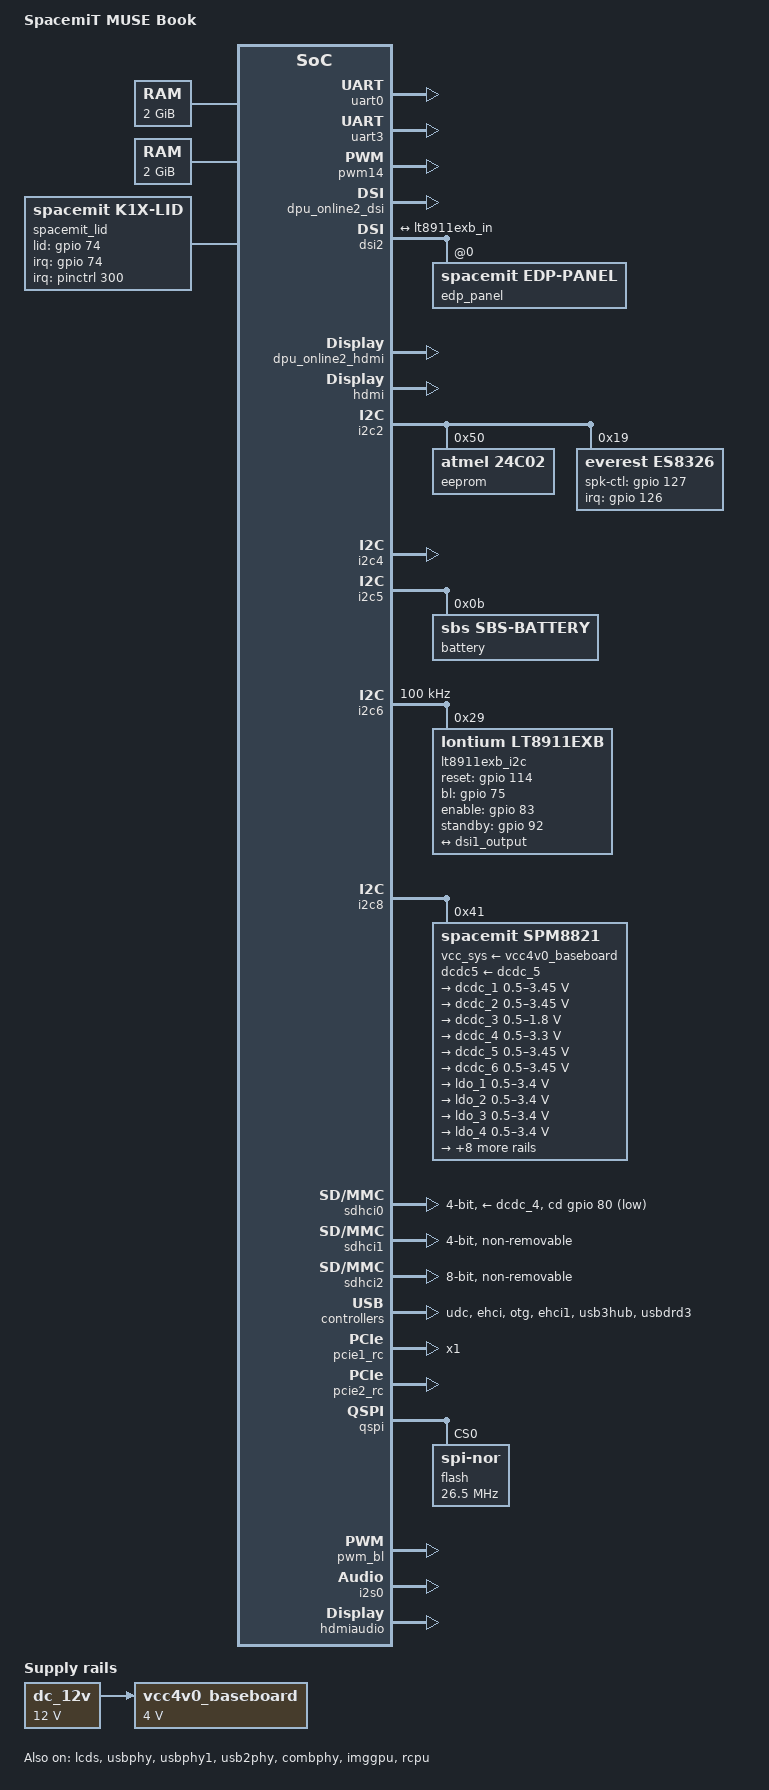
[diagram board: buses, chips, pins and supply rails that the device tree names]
// SPDX-License-Identifier: (GPL-2.0 OR MIT)
/* Copyright (c) 2023 Spacemit, Inc */

/dts-v1/;

#include "k1-x.dtsi"
#include "k1-x-efuse.dtsi"
#include "k1-x_pinctrl.dtsi"
#include "lcd/lcd_lt8911_edp_1920x1080.dtsi"
#include "k1-x-lcd.dtsi"
#include "k1-x-hdmi.dtsi"
#include "k1-x_opp_table.dtsi"
#include "k1-x_thermal_cooling.dtsi"

/ {
	model = "SpacemiT MUSE Book";

	charger: charger@b {
		compatible = "sbs,sbs-charger-virtual";
		battery-name = "sbs-5-000b";
		power-supplies = <&battery>;
	};

	chosen {
		bootargs = "console=ttyS0,115200n8 swiotlb=65536 driver_async_probe=spacemit-hdmi-drv,i2c-spacemit-k1x,ri2c-spacemit-k1x,k1xccic,sdhci-spacemit,k1x-dwc-pcie,pxa2xx-uart rdinit=/init";
		stdout-path = "serial0:115200n8";
	};

	cpus: cpus {
		#address-cells = <1>;
		#size-cells = <0>;
		timebase-frequency = <24000000>;

		cpu_0: cpu@0 {
			cpu-ai = "true";
		};

		cpu_1: cpu@1 {
			cpu-ai = "true";
		};

		cpu_2: cpu@2 {
			reg = <2>;
			cpu-ai = "true";
		};

		cpu_3: cpu@3 {
			reg = <3>;
			cpu-ai = "true";
		};

		cpu-map {
			cluster0 {
				core0 {
					cpu = <&cpu_0>;
				};

				core1 {
					cpu = <&cpu_1>;
				};

				core2 {
					cpu = <&cpu_2>;
				};

				core3 {
					cpu = <&cpu_3>;
				};
			};

			cluster1 {
				core0 {
					cpu = <&cpu_4>;
				};

				core1 {
					cpu = <&cpu_5>;
				};

				core2 {
					cpu = <&cpu_6>;
				};

				core3 {
					cpu = <&cpu_7>;
				};
			};
		};
	};

	dc_12v: dc-12v {
		compatible = "regulator-fixed";
		regulator-name = "dc_12v";
		regulator-always-on;
		regulator-boot-on;
		regulator-min-microvolt = <12000000>;
		regulator-max-microvolt = <12000000>;
	};

	memory@0 {
		device_type = "memory";
		reg = <0x0 0x00000000 0x0 0x80000000>;
	};

	memory@100000000 {
		device_type = "memory";
		reg = <0x1 0x00000000 0x0 0x80000000>;
	};

	reserved-memory {
		#address-cells = <2>;
		#size-cells = <2>;
		ranges;

		linux,cma {
			compatible = "shared-dma-pool";
			/* alloc memory from 0x40000000~0x80000000 */
			alloc-ranges = <0 0x40000000 0 0x40000000>;
			/* size of cma buffer is 384MByte */
			size = <0 0x18000000>;
			/* start address is 1Mbyte aligned */
			alignment = <0x0 0x100000>;
			linux,cma-default;
			/* besides hardware, dma for ex. buffer can be used by memory management */
			reusable;
		};

		/* reserved 384K for dpu, including mmu table(256K) and cmdlist(128K) */
		dpu_resv: dpu_reserved@2ff40000 {
			compatible = "shared-dma-pool";
			reg = <0x0 0x2ff40000 0x0 0x000C0000>;
			no-map;
		};
	};

	rf_pwrseq: rf-pwrseq {
		compatible = "spacemit,rf-pwrseq";
		status = "okay";

		wlan_pwrseq: wlan-pwrseq {
			compatible = "spacemit,wlan-pwrseq";
			regon-gpios     = <&gpio 76 0>;
		};

		bt_pwrseq: bt-pwrseq {
			compatible = "spacemit,bt-pwrseq";
			reset-gpios     = <&gpio 78 0>;
		};
	};


	spacemit_lid:spacemit_lid {
		compatible = "spacemit,k1x-lid";
		pinctrl-names = "default";
		pinctrl-0 = <&pinctrl_hall_wakeup>;
		lid-gpios = <&gpio 74 0>;
		interrupts-extended = <&gpio 74 1
				&pinctrl 300>;
	};

	vcc4v0_baseboard: vcc4v0-baseboard {
		compatible = "regulator-fixed";
		regulator-name = "vcc4v0_baseboard";
		regulator-always-on;
		regulator-boot-on;
		regulator-min-microvolt = <4000000>;
		regulator-max-microvolt = <4000000>;
		vin-supply = <&dc_12v>;
	};
};

&pinctrl {
	pinctrl_uart3_0: uart3_0_grp {
		pinctrl-single,pins =<
			K1X_PADCONF(GPIO_81,    MUX_MODE2, (EDGE_NONE | PULL_UP | PAD_1V8_DS2))      /* uart3_txd */
			K1X_PADCONF(GPIO_82,    MUX_MODE2, (EDGE_NONE | PULL_UP | PAD_1V8_DS2))      /* uart3_rxd */
		>;
	};
};

&uart0 {
	pinctrl-names = "default";
	pinctrl-0 = <&pinctrl_uart0_2>;
	status = "okay";
};

&uart3 {
	pinctrl-names = "default";
	pinctrl-0 = <&pinctrl_uart3_0>;
	status = "okay";
};

&pwm14 {
	pinctrl-names = "default";
	pinctrl-0 = <&pinctrl_pwm14_1>;
	status = "okay";
};

&dpu_online2_dsi {
	memory-region = <&dpu_resv>;
	spacemit-dpu-bitclk = <933000000>;
	dsi_1v2-supply = <&ldo_5>;
	vin-supply-names = "dsi_1v2";
	status = "okay";
};

&dsi2 {
	status = "okay";
	force-attached = "lcd_lt8911_edp_1920x1080";

	ports {
		#address-cells = <1>;
		#size-cells = <0>;

		port@0 {
			reg = <0>;
			#address-cells = <1>;
			#size-cells = <0>;

			dsi1_output: endpoint@1 {
				reg = <1>;
				remote-endpoint = <&lt8911exb_in>;
			};
		};
	};

	edp_panel: panel@0 {
			status = "ok";
			compatible = "spacemit,edp-panel";
	};

};

&lcds {
	status = "okay";
};

&dpu_online2_hdmi {
	memory-region = <&dpu_resv>;
	status = "okay";
};

&hdmi{
	pinctrl-names = "default";
	pinctrl-0 = <&pinctrl_hdmi_0>;
	status = "okay";
};

&i2c2 {
	pinctrl-names = "default";
	pinctrl-0 = <&pinctrl_i2c2_0>;
	spacemit,i2c-fast-mode;
	status = "okay";

	eeprom@50{
		compatible = "atmel,24c02";
		reg = <0x50>;
		#address-cells = <1>;
		#size-cells = <1>;

		power-domains = <&power K1X_PMU_DUMMY_PWR_DOMAIN>;
		status = "okay";

		mac_address0: mac_address0@0 {
			reg = <0x0 6>;
		};

		mac_address1: mac_address1@6 {
			reg = <0x6 6>;
		};
	};

	es8326: es8326@19{
		compatible = "everest,es8326";
		reg = <0x19>;
		#sound-dai-cells = <0>;
		interrupt-parent = <&gpio>;
		interrupts = <126 1>;
		spk-ctl-gpio = <&gpio 127 0>;
		everest,jack-detect-inverted;
		everest,mic1-src = [44];
		everest,mic2-src = [66];
		status = "okay";
	};
};

&i2c4 {
	pinctrl-names = "default";
	pinctrl-0 = <&pinctrl_i2c4_2>;
	status = "okay";

	touchpad: hid@2d {
		compatible = "hid-over-i2c";
		reg = <0x2d>;
		hid-descr-addr = <0x0020>;
		post-power-on-delay-ms = <200>;

		interrupt-parent = <&gpio>;
		interrupts = <50 2>;
		status = "okay";
	};
};

&i2c5 {
	pinctrl-names = "default";
	pinctrl-0 = <&pinctrl_i2c5_1>;
	status = "okay";

	battery: battery@b {
		compatible = "sbs,sbs-battery";
		reg = <0x0b>;
		sbs,i2c-retry-count = <2>;
		sbs,poll-retry-count = <1>;
	};
};

&i2c6 {
	pinctrl-names = "default";
	pinctrl-0 = <&pinctrl_i2c6_2>;
	clock-frequency = <100000>;
	status = "okay";

	lt8911exb_i2c@29 {
		compatible = "lontium,lt8911exb";
		reg = <0x29>;

		reset-gpio = <&gpio 114 0>;
		bl-gpio = <&gpio 75 0>;
		enable-gpio = <&gpio 83 0>;
		standby-gpio = <&gpio 92 0>;

		status = "okay";

		port {
			lt8911exb_in: endpoint {
				remote-endpoint = <&dsi1_output>;
			};
		};
	};
};

&i2c8 {
	pinctrl-names = "default";
	pinctrl-0 = <&pinctrl_i2c8>;
	status = "okay";

	spm8821@41 {
		compatible = "spacemit,spm8821";
		reg = <0x41>;
		interrupt-parent = <&intc>;
		interrupts = <64>;
		status = "okay";

		vcc_sys-supply = <&vcc4v0_baseboard>;
		dcdc5-supply = <&dcdc_5>;

		regulators {
			compatible = "pmic,regulator,spm8821";

			/* buck */
			dcdc_1: DCDC_REG1 {
				regulator-name = "dcdc1";
				regulator-min-microvolt = <500000>;
				regulator-max-microvolt = <3450000>;
				regulator-ramp-delay = <5000>;
				regulator-always-on;

				regulator-state-mem {
					regulator-off-in-suspend;
					regulator-suspend-microvolt = <650000>;
				};
			};

			dcdc_2: DCDC_REG2 {
				regulator-name = "dcdc2";
				regulator-min-microvolt = <500000>;
				regulator-max-microvolt = <3450000>;
				regulator-ramp-delay = <5000>;
				regulator-always-on;
			};

			dcdc_3: DCDC_REG3 {
				regulator-name = "dcdc3";
				regulator-min-microvolt = <500000>;
				regulator-max-microvolt = <1800000>;
				regulator-ramp-delay = <5000>;
				regulator-always-on;
			};

			dcdc_4: DCDC_REG4 {
				regulator-name = "dcdc4";
				regulator-min-microvolt = <500000>;
				regulator-max-microvolt = <3300000>;
				regulator-ramp-delay = <5000>;
				regulator-always-on;
			};

			dcdc_5: DCDC_REG5 {
				regulator-name = "dcdc5";
				regulator-min-microvolt = <500000>;
				regulator-max-microvolt = <3450000>;
				regulator-ramp-delay = <5000>;
				regulator-always-on;
			};

			dcdc_6: DCDC_REG6 {
				regulator-name = "dcdc6";
				regulator-min-microvolt = <500000>;
				regulator-max-microvolt = <3450000>;
				regulator-ramp-delay = <5000>;
				regulator-always-on;
			};

			/* aldo */
			ldo_1: LDO_REG1 {
				regulator-name = "ldo1";
				regulator-min-microvolt = <500000>;
				regulator-max-microvolt = <3400000>;
				regulator-boot-on;

				regulator-state-mem {
					regulator-off-in-suspend;
					regulator-suspend-microvolt = <500000>;
				};
			};

			ldo_2: LDO_REG2 {
				regulator-name = "ldo2";
				regulator-min-microvolt = <500000>;
				regulator-max-microvolt = <3400000>;

				regulator-state-mem {
					regulator-off-in-suspend;
					regulator-suspend-microvolt = <500000>;
				};
			};

			ldo_3: LDO_REG3 {
				regulator-name = "ldo3";
				regulator-min-microvolt = <500000>;
				regulator-max-microvolt = <3400000>;

				regulator-state-mem {
					regulator-off-in-suspend;
					regulator-suspend-microvolt = <500000>;
				};
			};

			ldo_4: LDO_REG4 {
				regulator-name = "ldo4";
				regulator-min-microvolt = <500000>;
				regulator-max-microvolt = <3400000>;

				regulator-state-mem {
					regulator-off-in-suspend;
					regulator-suspend-microvolt = <500000>;
				};
			};

			/* dldo */
			ldo_5: LDO_REG5 {
				regulator-name = "ldo5";
				regulator-min-microvolt = <500000>;
				regulator-max-microvolt = <3400000>;
				regulator-boot-on;

				regulator-state-mem {
					regulator-off-in-suspend;
					regulator-suspend-microvolt = <500000>;
				};
			};

			ldo_6: LDO_REG6 {
				regulator-name = "ldo6";
				regulator-min-microvolt = <500000>;
				regulator-max-microvolt = <3400000>;

				regulator-state-mem {
					regulator-off-in-suspend;
					regulator-suspend-microvolt = <500000>;
				};
			};

			ldo_7: LDO_REG7 {
				regulator-name = "ldo7";
				regulator-min-microvolt = <500000>;
				regulator-max-microvolt = <3400000>;

				regulator-state-mem {
					regulator-off-in-suspend;
					regulator-suspend-microvolt = <500000>;
				};
			};

			ldo_8: LDO_REG8 {
				regulator-name = "ldo8";
				regulator-min-microvolt = <500000>;
				regulator-max-microvolt = <3400000>;
				regulator-always-on;
			};

			ldo_9: LDO_REG9 {
				regulator-name = "ldo9";
				regulator-min-microvolt = <500000>;
				regulator-max-microvolt = <3400000>;
			};

			ldo_10: LDO_REG10 {
				regulator-name = "ldo10";
				regulator-min-microvolt = <500000>;
				regulator-max-microvolt = <3400000>;
				regulator-always-on;
			};

			ldo_11: LDO_REG11 {
				regulator-name = "ldo11";
				regulator-min-microvolt = <500000>;
				regulator-max-microvolt = <3400000>;
			};

			sw_1: SWITCH_REG1 {
				regulator-name = "switch1";
			};
		};

		pmic_pinctrl: pinctrl {
			compatible = "pmic,pinctrl,spm8821";
			gpio-controller;
			#gpio-cells = <2>;
			spacemit,npins = <6>;
/**
 *			led_pins: led-pins {
 *				pins = "PIN3";
 *				function = "sleep";
 *				bias-disable = <0>;
 *				drive-open-drain = <0x1>;
 *			};
 */
		};

		pwr_key: key {
			compatible = "pmic,pwrkey,spm8821";
		};

		ext_rtc: rtc {
			compatible = "pmic,rtc,spm8821";
		};

		ext_adc: adc {
			compatible = "pmic,adc,spm8821";
		};
	};
};

&pinctrl {
	pinctrl-single,gpio-range = <
		&range GPIO_49  2 (MUX_MODE0 | EDGE_NONE | PULL_UP   | PAD_3V_DS4)
		&range GPIO_58  1 (MUX_MODE0 | EDGE_NONE | PULL_UP   | PAD_1V8_DS2)
		&range GPIO_63  2 (MUX_MODE0 | EDGE_NONE | PULL_UP   | PAD_1V8_DS2)
		&range GPIO_65  1 (MUX_MODE0 | EDGE_NONE | PULL_UP   | PAD_1V8_DS2)
		&range GPIO_66  2 (MUX_MODE0 | EDGE_NONE | PULL_UP   | PAD_3V_DS4)
		&range PRI_TDI  2 (MUX_MODE1 | EDGE_NONE | PULL_UP   | PAD_1V8_DS2)
		&range PRI_TCK  1 (MUX_MODE1 | EDGE_NONE | PULL_DOWN | PAD_1V8_DS2)
		&range PRI_TDO  1 (MUX_MODE1 | EDGE_NONE | PULL_UP   | PAD_1V8_DS2)
		&range GPIO_76  1 (MUX_MODE0 | EDGE_NONE | PULL_UP   | PAD_3V_DS4)
		&range GPIO_78  1 (MUX_MODE0 | EDGE_NONE | PULL_UP   | PAD_3V_DS4)
		&range GPIO_80  1 (MUX_MODE0 | EDGE_NONE | PULL_UP   | PAD_3V_DS4)
		&range GPIO_81  3 (MUX_MODE0 | EDGE_NONE | PULL_UP   | PAD_1V8_DS2)
		&range GPIO_90  1 (MUX_MODE0 | EDGE_NONE | PULL_DOWN | PAD_1V8_DS2)
		&range GPIO_91  2 (MUX_MODE0 | EDGE_NONE | PULL_UP   | PAD_1V8_DS2)
		&range DVL0     2 (MUX_MODE1 | EDGE_NONE | PULL_DOWN | PAD_1V8_DS2)
		&range GPIO_110 1 (MUX_MODE0 | EDGE_NONE | PULL_DOWN | PAD_1V8_DS2)
		&range GPIO_114 1 (MUX_MODE0 | EDGE_NONE | PULL_DOWN | PAD_1V8_DS2)
		&range GPIO_115 2 (MUX_MODE0 | EDGE_NONE | PULL_DOWN | PAD_1V8_DS2)
		&range GPIO_123 1 (MUX_MODE0 | EDGE_NONE | PULL_DOWN | PAD_1V8_DS2)
		&range GPIO_124 1 (MUX_MODE0 | EDGE_NONE | PULL_UP   | PAD_1V8_DS2)
		&range GPIO_125 3 (MUX_MODE0 | EDGE_NONE | PULL_DOWN | PAD_1V8_DS2)
	>;

	pinctrl_rcpu: pinctrl_rcpu_grp {
		pinctrl-single,pins = <
			K1X_PADCONF(GPIO_47,   MUX_MODE1, (EDGE_NONE | PULL_UP | PAD_3V_DS4))	/* r_uart0_tx */
			K1X_PADCONF(GPIO_48,   MUX_MODE1, (EDGE_NONE | PULL_UP | PAD_3V_DS4))	/* r_uart0_rx */
		>;
	};

	pinctrl_hall_wakeup: hall_wakeup_grp {
		pinctrl-single,pins =<
			K1X_PADCONF(GPIO_74, MUX_MODE0, (EDGE_FALL | EDGE_RISE | PULL_DOWN | PAD_3V_DS2))   /* hall edge detect */
		>;
	};
};

&gpio{
	gpio-ranges = <
		&pinctrl 49  GPIO_49  2
		&pinctrl 58  GPIO_58  1
		&pinctrl 63  GPIO_63  5
		&pinctrl 70  PRI_TDI  4
		&pinctrl 76  GPIO_76  1
		&pinctrl 78  GPIO_78  1
		&pinctrl 80  GPIO_80  4
		&pinctrl 90  GPIO_90  3
		&pinctrl 96  DVL0     2
		&pinctrl 110 GPIO_110 1
		&pinctrl 114 GPIO_114 3
		&pinctrl 123 GPIO_123 5
	>;
};

/* SD */
&sdhci0 {
	pinctrl-names = "default","fast";
	pinctrl-0 = <&pinctrl_mmc1>;
	pinctrl-1 = <&pinctrl_mmc1_fast>;
	bus-width = <4>;
	cd-gpios = <&gpio 80 0>;
	cd-inverted;
	vmmc-supply = <&dcdc_4>;
	vqmmc-supply = <&ldo_1>;
	no-mmc;
	no-sdio;
	spacemit,sdh-host-caps-disable = <(
			MMC_CAP_UHS_SDR12 |
			MMC_CAP_UHS_SDR25
			)>;
	spacemit,sdh-quirks = <(
			SDHCI_QUIRK_BROKEN_CARD_DETECTION |
			SDHCI_QUIRK_INVERTED_WRITE_PROTECT |
			SDHCI_QUIRK_BROKEN_TIMEOUT_VAL
			)>;
	spacemit,sdh-quirks2 = <(
			SDHCI_QUIRK2_PRESET_VALUE_BROKEN |
			SDHCI_QUIRK2_BROKEN_PHY_MODULE |
			SDHCI_QUIRK2_SET_AIB_MMC
			)>;
	spacemit,aib_mmc1_io_reg = <0xD401E81C>;
	spacemit,apbc_asfar_reg = <0xD4015050>;
	spacemit,apbc_assar_reg = <0xD4015054>;
	spacemit,rx_dline_reg = <0x0>;
	spacemit,tx_dline_reg = <0x0>;
	spacemit,tx_delaycode = <0x7f>;
	spacemit,rx_tuning_limit = <50>;
	spacemit,sdh-freq = <204800000>;
	status = "okay";
};

/* SDIO */
&sdhci1 {
	pinctrl-names = "default";
	pinctrl-0 = <&pinctrl_mmc2>;
	bus-width = <4>;
	non-removable;
	vqmmc-supply = <&dcdc_3>;
	no-mmc;
	no-sd;
	keep-power-in-suspend;
	/* bcmdhd use private oob solution rather than dat1/standard wakeup */
	/delete-property/ enable-sdio-wakeup;
	spacemit,sdh-host-caps-disable = <(
			MMC_CAP_UHS_DDR50 |
			MMC_CAP_NEEDS_POLL
			)>;
	spacemit,sdh-quirks = <(
			SDHCI_QUIRK_BROKEN_CARD_DETECTION |
			SDHCI_QUIRK_BROKEN_TIMEOUT_VAL
			)>;
	spacemit,sdh-quirks2 = <(
			SDHCI_QUIRK2_PRESET_VALUE_BROKEN |
			SDHCI_QUIRK2_BROKEN_PHY_MODULE
			)>;
	spacemit,rx_dline_reg = <0x0>;
	spacemit,rx_tuning_limit = <50>;
	spacemit,sdh-freq = <375000000>;
	status = "okay";
};

/* eMMC */
&sdhci2 {
	bus-width = <8>;
	non-removable;
	mmc-hs400-1_8v;
	mmc-hs400-enhanced-strobe;
	no-sd;
	no-sdio;
	spacemit,sdh-quirks = <(
			SDHCI_QUIRK_BROKEN_CARD_DETECTION |
			SDHCI_QUIRK_BROKEN_TIMEOUT_VAL
			)>;
	spacemit,sdh-quirks2 = <(
			SDHCI_QUIRK2_PRESET_VALUE_BROKEN
			)>;
	spacemit,sdh-freq = <375000000>;
	status = "okay";
};

&usbphy {
	status = "okay";
};

&udc {
	spacemit,udc-mode = <MV_USB_MODE_OTG>;
	status = "okay";
};

&ehci {
	spacemit,udc-mode = <MV_USB_MODE_OTG>;
	status = "okay";
};

&otg {
	usb-role-switch;
	role-switch-user-control;
	role-switch-default-mode = "host";
	status = "okay";
};

&usbphy1 {
	status = "okay";
};

&udc1 {
	/*spacemit,udc-mode = <MV_USB_MODE_UDC>;*/
	spacemit,udc-mode = <MV_USB_MODE_OTG>;
	status = "disabled";
};

&ehci1 {
	status = "okay";
};

&otg1 {
	usb-role-switch;
	role-switch-user-control;
	spacemit,reset-on-resume;
	role-switch-default-mode = "host";
	vbus-gpios = <&gpio 123 0>;
	status = "disabled";
};

&usb2phy {
	status = "okay";
};

&combphy {
	status = "okay";
};

&usb3hub {
	hub-gpios = <&gpio 123 0>;	/* usb3 hub en */
	suspend_power_on;
	status = "okay";
};

&usbdrd3 {
	status = "okay";
	dwc3@c0a00000 {
		dr_mode = "host";
		phy_type = "utmi";
		snps,hsphy_interface = "utmi";
		snps,dis_enblslpm_quirk;
		snps,dis_u2_susphy_quirk;
		snps,dis_u3_susphy_quirk;
		snps,dis-del-phy-power-chg-quirk;
		snps,dis-tx-ipgap-linecheck-quirk;
		snps,parkmode-disable-ss-quirk;
	};
};

&pcie1_rc {
	pinctrl-names = "default";
	pinctrl-0 = <&pinctrl_pcie1_3>;
	num-lanes = <1>;
	status = "okay";
};

&pcie2_rc {
	pinctrl-names = "default";
	pinctrl-0 = <&pinctrl_pcie2_4>;
	status = "okay";
};

&imggpu {
	status = "okay";
};

&qspi {
	pinctrl-names = "default";
	pinctrl-0 = <&pinctrl_qspi>;
	status = "okay";

	flash@0 {
		compatible = "jedec,spi-nor";
		reg = <0>;
		spi-max-frequency = <26500000>;
		m25p,fast-read;
		broken-flash-reset;
		status = "okay";
	};
};

&pwm_bl {
	pwms = <&pwm14 2000>;
	brightness-levels = <
		0   64  64  64  64  65  65  65  65  66  66  66  66  67  67  68
		68  69  69  70  70  71  71  72  72  73  73  74  74  75  75  76
		76  77  78  79  80  80  81  82  83  84  84  85  86  87  88  88
		89  90  91  92  92  93  94  95  96  96  97  98  99  100 100 101
		102 103 104 104 105 106 107 108 108 109 110 111 112 112 113 114
		115 116 116 117 118 119 120 120 121 122 123 124 124 125 126 127
		128 128 129 130 131 132 132 133 134 135 136 136 137 138 139 140
		140 141 142 143 144 144 145 146 147 148 148 149 150 151 152 152
		153 154 155 156 156 157 158 159 160 160 161 162 163 164 164 165
		166 167 168 168 169 170 171 172 172 173 174 175 176 176 177 178
		179 180 180 181 182 183 184 184 185 186 187 188 188 189 190 191
		192 192 193 194 195 196 196 197 198 199 200 200 201 202 203 204
		204 205 206 207 208 208 209 210 211 212 212 213 214 215 216 216
		217 218 219 220 220 221 222 223 224 224 225 226 227 228 228 229
		230 231 232 232 233 234 235 236 236 237 238 239 240 240 241 242
		243 244 244 245 246 247 248 248 249 250 251 252 252 253 254 255
	>;
	default-brightness-level = <128>;

	status = "okay";
};

&rcpu {
	pinctrl-names = "default";
	pinctrl-0 = <&pinctrl_rcpu>;
	mboxes = <&mailbox 0>, <&mailbox 1>;
	mbox-names = "vq0", "vq1";
	memory-region = <&rcpu_mem_0>, <&rcpu_mem_heap>, <&vdev0vring0>, <&vdev0vring1>, <&vdev0buffer>, <&rsc_table>, <&rcpu_mem_snapshots>;
	status = "okay";
};

&i2s0 {
        pinctrl-names = "default";
        pinctrl-0 = <&pinctrl_sspa0_0>;
        status = "okay";
};

&hdmiaudio {
	status = "okay";
};

&sound_hdmi {
	status = "okay";
	simple-audio-card,cpu {
		sound-dai = <&hdmiaudio>;
	};
};

&sound_codec {
	status = "okay";
	simple-audio-card,name = "snd-es8326";
	spacemit,mclk-fs = <64>;
	simple-audio-card,codec {
		sound-dai = <&es8326>;
	};
};
